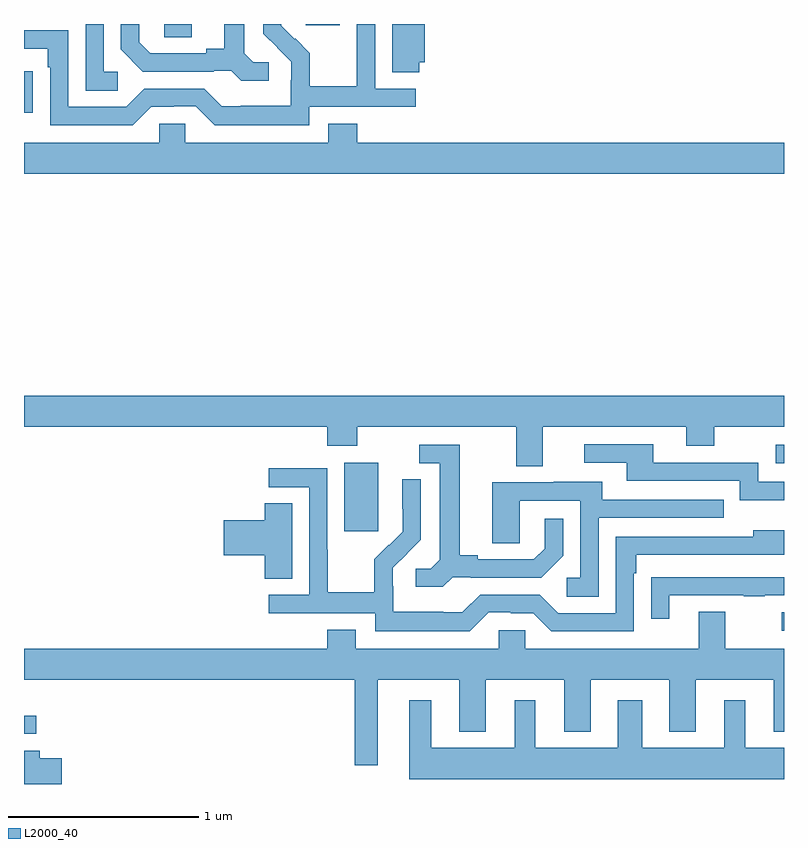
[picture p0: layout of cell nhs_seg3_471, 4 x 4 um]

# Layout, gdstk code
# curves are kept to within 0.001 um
import gdstk
lib = gdstk.Library(unit=1e-6, precision=1e-09)
def R(c, l, rs):  # rectangles x0, y0, x1, y1
    for r in rs: c.add(gdstk.rectangle(r[:2], r[2:], *l))
def P(c, l, *ps):  # polygons
    for p in ps: c.add(gdstk.Polygon(p, *l))
L2000_40 = (2000, 40)

nhs_seg3_471 = lib.new_cell('nhs_seg3_471')
R(nhs_seg3_471, L2000_40, [(135,668.664,135.064,668.76), (138.987,669.207,139,669.303), (136.685,669.729,136.864,670.09), (138.957,670.089,139,670.185), (135,671.934,135.047,672.152), (135.738,672.331,135.883,672.4), (136.484,672.393,136.663,672.4)])
P(nhs_seg3_471, L2000_40, [(136.288,672.198),(136.206,672.198),(136.159,672.245),(136.159,672.4),(136.055,672.4),(136.055,672.269),(135.959,672.269),(135.959,672.246),(135.664,672.246),(135.607,672.303),(135.607,672.4),(135.51,672.4),(135.51,672.266),(135.626,672.15),(135.998,672.15),(135.998,672.153),(136.092,672.153),(136.144,672.101),(136.288,672.101)],
  [(137.081,672.198),(137.108,672.198),(137.108,672.4),(136.937,672.4),(136.937,672.145),(137.081,672.145)],
  [(135.493,672.15),(135.42,672.15),(135.42,672.4),(135.324,672.4),(135.324,672.049),(135.493,672.049)],
  [(136.5,671.964),(137.062,671.964),(137.062,672.06),(136.848,672.06),(136.848,672.4),(136.752,672.4),(136.752,672.296),(136.75,672.296),(136.75,672.073),(136.505,672.073),(136.505,672.247),(136.428,672.324),(136.425,672.321),(136.355,672.392),(136.355,672.4),(136.26,672.4),(136.26,672.35),(136.406,672.202),(136.406,672.105),(136.404,672.105),(136.404,671.971),(136.141,671.971),(136.141,671.967),(136.041,671.967),(135.948,672.06),(135.633,672.06),(135.537,671.964),(135.234,671.964),(135.234,672.366),(135,672.366),(135,672.27),(135.125,672.27),(135.125,672.173),(135.138,672.173),(135.138,671.868),(135.573,671.868),(135.669,671.964),(135.788,671.964),(135.788,671.967),(135.903,671.967),(136.003,671.867),(136.5,671.867)],
  [(139,671.776),(136.754,671.776),(136.754,671.875),(136.601,671.875),(136.601,671.776),(135.849,671.776),(135.849,671.874),(135.711,671.874),(135.711,671.776),(135,671.776),(135,671.612),(139,671.612)],
  [(137.731,670.28),(138.485,670.28),(138.485,670.181),(138.633,670.181),(138.633,670.28),(139,670.28),(139,670.444),(135,670.444),(135,670.28),(136.595,670.28),(136.595,670.181),(136.755,670.181),(136.755,670.28),(137.591,670.28),(137.591,670.072),(137.731,670.072)],
  [(139,669.99),(138.864,669.99),(138.864,670.092),(138.313,670.092),(138.313,670.188),(137.949,670.188),(137.949,670.092),(138.173,670.092),(138.173,669.996),(138.768,669.996),(138.768,669.893),(139,669.893)],
  [(137.256,669.489),(137.35,669.489),(137.35,669.486),(137.722,669.486),(137.838,669.602),(137.838,669.796),(137.741,669.796),(137.741,669.639),(137.684,669.582),(137.389,669.582),(137.389,669.605),(137.293,669.605),(137.293,670.185),(137.079,670.185),(137.079,670.089),(137.189,670.089),(137.189,669.581),(137.142,669.534),(137.061,669.534),(137.061,669.437),(137.204,669.437)],
  [(137.445,669.303),(137.561,669.303),(137.561,669.3),(137.679,669.3),(137.775,669.204),(138.21,669.204),(138.21,669.509),(138.223,669.509),(138.223,669.606),(139,669.606),(139,669.736),(138.839,669.736),(138.839,669.702),(138.114,669.702),(138.114,669.3),(137.811,669.3),(137.715,669.396),(137.4,669.396),(137.307,669.303),(137.207,669.303),(137.207,669.307),(136.944,669.307),(136.944,669.441),(136.942,669.441),(136.942,669.538),(137.088,669.686),(137.088,670.004),(136.992,670.004),(136.992,669.85),(136.994,669.85),(136.994,669.728),(136.923,669.657),(136.92,669.66),(136.843,669.583),(136.843,669.409),(136.599,669.409),(136.599,669.632),(136.596,669.632),(136.596,670.062),(136.287,670.062),(136.287,669.963),(136.5,669.963),(136.5,669.396),(136.287,669.396),(136.287,669.3),(136.848,669.3),(136.848,669.203),(137.345,669.203)],
  [(138.024,669.801),(138.683,669.801),(138.683,669.897),(138.043,669.897),(138.043,669.991),(137.789,669.991),(137.789,669.987),(137.465,669.987),(137.465,669.667),(137.61,669.667),(137.61,669.891),(137.928,669.891),(137.928,669.486),(137.856,669.486),(137.856,669.385),(138.024,669.385)],
  [(136.411,669.878),(136.268,669.878),(136.268,669.788),(136.05,669.788),(136.05,669.605),(136.268,669.605),(136.268,669.481),(136.411,669.481)],
  [(138.397,669.393),(138.787,669.393),(138.787,669.388),(138.899,669.388),(138.899,669.393),(139,669.393),(139,669.489),(138.403,669.489),(138.403,669.488),(138.301,669.488),(138.301,669.27),(138.397,669.27)],
  [(136.861,668.948),(137.291,668.948),(137.291,668.675),(137.431,668.675),(137.431,668.948),(137.843,668.948),(137.843,668.675),(137.983,668.675),(137.983,668.948),(138.395,668.948),(138.395,668.675),(138.535,668.675),(138.535,668.948),(138.947,668.948),(138.947,668.675),(139,668.675),(139,669.112),(138.691,669.112),(138.691,669.307),(138.551,669.307),(138.551,669.112),(137.637,669.112),(137.637,669.21),(137.499,669.21),(137.499,669.112),(136.747,669.112),(136.747,669.211),(136.595,669.211),(136.595,669.112),(135,669.112),(135,668.948),(136.74,668.948),(136.74,668.499),(136.861,668.499)],
  [(139,668.59),(138.796,668.59),(138.796,668.842),(138.686,668.842),(138.686,668.59),(138.253,668.59),(138.253,668.842),(138.125,668.842),(138.125,668.59),(137.692,668.59),(137.692,668.842),(137.582,668.842),(137.582,668.59),(137.143,668.59),(137.143,668.842),(137.027,668.842),(137.027,668.426),(139,668.426)],
  [(135.199,668.536),(135.083,668.536),(135.083,668.575),(135,668.575),(135,668.4),(135.199,668.4)])

lib.write_gds('nhs_seg3_471.gds')
